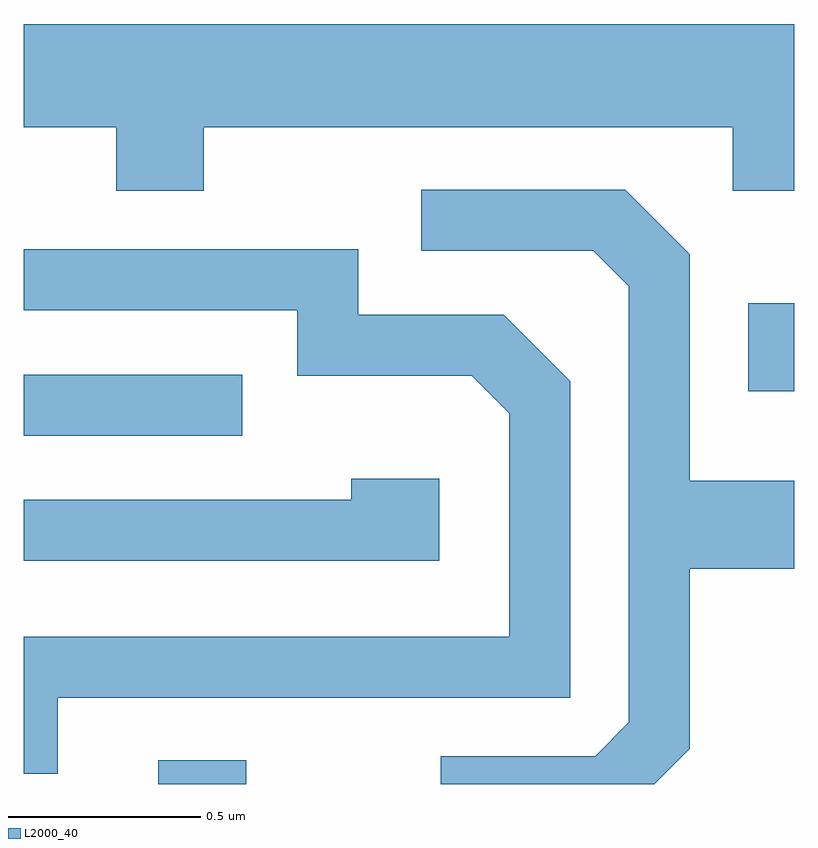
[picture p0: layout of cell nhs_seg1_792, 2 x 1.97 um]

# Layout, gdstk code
import gdstk
lib = gdstk.Library(unit=1e-6, precision=1e-09)
def R(c, l, rs):  # rectangles x0, y0, x1, y1
    for r in rs: c.add(gdstk.rectangle(r[:2], r[2:], *l))
def P(c, l, *ps):  # polygons
    for p in ps: c.add(gdstk.Polygon(p, *l))
L2000_40 = (2000, 40)

nhs_seg1_792 = lib.new_cell('nhs_seg1_792')
R(nhs_seg1_792, L2000_40, [(190.961,946.712,191.189,946.774), (190.611,947.616,191.178,947.774), (192.491,947.731,192.611,947.959)])
P(nhs_seg1_792, L2000_40, [(191.079,948.416),(192.451,948.416),(192.451,948.251),(192.611,948.251),(192.611,948.684),(190.611,948.684),(190.611,948.416),(190.851,948.416),(190.851,948.251),(191.079,948.251)],
  [(192.339,946.804),(192.339,947.271),(192.611,947.271),(192.611,947.499),(192.339,947.499),(192.339,948.087),(192.172,948.254),(191.643,948.254),(191.643,948.096),(192.089,948.096),(192.181,948.004),(192.181,946.872),(192.094,946.784),(191.693,946.784),(191.693,946.712),(192.248,946.712)],
  [(190.699,946.936),(192.029,946.936),(192.029,947.757),(191.857,947.929),(191.479,947.929),(191.479,948.099),(190.611,948.099),(190.611,947.941),(191.321,947.941),(191.321,947.771),(191.774,947.771),(191.871,947.674),(191.871,947.094),(190.611,947.094),(190.611,946.738),(190.699,946.738)],
  [(191.689,947.504),(191.461,947.504),(191.461,947.449),(190.611,947.449),(190.611,947.291),(191.689,947.291)])

lib.write_gds('nhs_seg1_792.gds')
